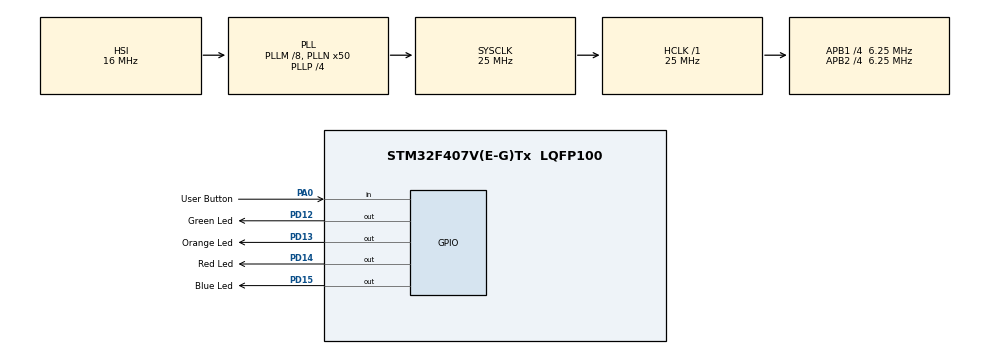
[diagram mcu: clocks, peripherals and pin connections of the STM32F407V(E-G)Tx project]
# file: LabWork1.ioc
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Mcu.Family=STM32F4
Mcu.Name=STM32F407V(E-G)Tx
Mcu.Package=LQFP100
NVIC.PriorityGroup=NVIC_PRIORITYGROUP_0
PA0-WKUP.GPIO_Label=User Button
PA0-WKUP.Signal=GPIO_Input
PD12.GPIO_Label=Green Led
PD12.Signal=GPIO_Output
PD13.GPIO_Label=Orange Led
PD13.Signal=GPIO_Output
PD14.GPIO_Label=Red Led
PD14.Signal=GPIO_Output
PD15.GPIO_Label=Blue Led
PD15.Signal=GPIO_Output
ProjectManager.HeapSize=0x200
ProjectManager.StackSize=0x400
ProjectManager.TargetToolchain=STM32CubeIDE
RCC.48MHZClocksFreq_Value=14285714.285714285
RCC.AHBFreq_Value=25000000
RCC.APB1CLKDivider=RCC_HCLK_DIV4
RCC.APB1Freq_Value=6250000
RCC.APB1TimFreq_Value=12500000
RCC.APB2CLKDivider=RCC_HCLK_DIV4
RCC.APB2Freq_Value=6250000
RCC.APB2TimFreq_Value=12500000
RCC.CortexFreq_Value=25000000
RCC.HCLKFreq_Value=25000000
RCC.HSE_VALUE=8000000
RCC.HSI_VALUE=16000000
RCC.PLLM=8
RCC.PLLN=50
RCC.PLLP=RCC_PLLP_DIV4
RCC.PLLQ=7
RCC.SYSCLKFreq_VALUE=25000000
RCC.SYSCLKSource=RCC_SYSCLKSOURCE_PLLCLK
RCC.VCOOutputFreq_Value=100000000
board=STM32F407G-DISC1

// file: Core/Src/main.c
/* USER CODE BEGIN Header */
/**
  ******************************************************************************
  * @file           : main.c
  * @brief          : Main program body
  ******************************************************************************
  * @attention
  *
  * Copyright (c) 2024 STMicroelectronics.
  * All rights reserved.
  *
  * This software is licensed under terms that can be found in the LICENSE file
  * in the root directory of this software component.
  * If no LICENSE file comes with this software, it is provided AS-IS.
  *
  ******************************************************************************
  */
/* USER CODE END Header */
#include "main.h"

void SystemClock_Config(void);
static void MX_GPIO_Init(void);

int main(void)
{
  /* USER CODE BEGIN 1 */
	HAL_Init();
	__GPIOD_CLK_ENABLE();
	__GPIOA_CLK_ENABLE();

	GPIO_InitTypeDef GPIO_InitStruct;

	  // Configure the GPIO LED pins
	  GPIO_InitStruct.Pin = GPIO_PIN_12 | GPIO_PIN_13 | GPIO_PIN_14 | GPIO_PIN_15;
	  GPIO_InitStruct.Mode = GPIO_MODE_OUTPUT_PP;
	  GPIO_InitStruct.Pull = GPIO_NOPULL;
	  GPIO_InitStruct.Speed = GPIO_SPEED_FAST;
	  HAL_GPIO_Init(GPIOD, &GPIO_InitStruct);

	  // Configure the GPIO button pin
	  GPIO_InitStruct.Pin = GPIO_PIN_0;
	  GPIO_InitStruct.Mode = GPIO_MODE_INPUT;
	  GPIO_InitStruct.Pull = GPIO_NOPULL;
	  HAL_GPIO_Init(GPIOA, &GPIO_InitStruct);
  /* USER CODE END 1 */

  /* MCU Configuration--------------------------------------------------------*/

  /* Reset of all peripherals, Initializes the Flash interface and the Systick. */
  HAL_Init();

  /* Configure the system clock */
  SystemClock_Config();

  /* Initialize all configured peripherals */
  MX_GPIO_Init();
  /* USER CODE BEGIN 2 */

  int mode = 2;  // Switch variable
  int delay_ms = 500;  // Initial delay in ms
  uint8_t prev_button_state = GPIO_PIN_RESET;  // Previous button state
  int rotationDirection = 1;  // Initial rotation direction
  int currentIndex = 0;
  #define LED_COUNT 4
  uint16_t ledPins[LED_COUNT] = {GPIO_PIN_12, GPIO_PIN_13, GPIO_PIN_14, GPIO_PIN_15};
  /* USER CODE END 2 */
  /* Infinite loop */

  /* USER CODE BEGIN WHILE */
  /* USER CODE BEGIN 3*/
  while (1)
  {
	  if(mode==0)
	  {
			 // Toggle the blue LED every second
			// Binary 3 - Green and Blue ON
			  HAL_GPIO_WritePin(GPIOD, GPIO_PIN_12, GPIO_PIN_SET);
			  HAL_GPIO_WritePin(GPIOD, GPIO_PIN_15, GPIO_PIN_SET);
			  HAL_Delay(1000);

			// Binary 2 - Green ON, Blue OFF
			  HAL_GPIO_WritePin(GPIOD, GPIO_PIN_12, GPIO_PIN_SET);
			  HAL_GPIO_WritePin(GPIOD, GPIO_PIN_15, GPIO_PIN_RESET);
			  HAL_Delay(1000);

			// Binary 1 - Green OFF, Blue ON
		      HAL_GPIO_WritePin(GPIOD, GPIO_PIN_12, GPIO_PIN_RESET);
			  HAL_GPIO_WritePin(GPIOD, GPIO_PIN_15, GPIO_PIN_SET);
			  HAL_Delay(1000);
	  }
	  else if(mode==1)
	  {
		  // Toggle the blue LED every second
		  HAL_GPIO_TogglePin(GPIOD, GPIO_PIN_15);
		  HAL_Delay(1000);

		  // Toggle the orange LED every two seconds
		  static int orange_blink_counter = 0;
		  orange_blink_counter++;
		  if(orange_blink_counter % 2 == 0)
		  {
		    HAL_GPIO_TogglePin(GPIOD, GPIO_PIN_13);
		  }
	  }
	  else if(mode==2)
	    {
	      // if the button is pressed
		  if(HAL_GPIO_ReadPin(GPIOA, GPIO_PIN_0) == GPIO_PIN_SET)
			  // Turn on the orange LED
	      HAL_GPIO_WritePin(GPIOD, GPIO_PIN_13, GPIO_PIN_SET);
	    }
	  else if(mode==3)
	  {
	    // Toggle the blue LED with the current delay
	    HAL_GPIO_TogglePin(GPIOD, GPIO_PIN_15);
	    HAL_Delay(delay_ms);

	    // Read the current button state
	    uint8_t current_button_state = HAL_GPIO_ReadPin(GPIOA, GPIO_PIN_0);

	    // If the button was pressed (transition from RESET to SET)
	    if(prev_button_state == GPIO_PIN_RESET && current_button_state == GPIO_PIN_SET)
	    {
	      // Increase the delay by 1 second
	      delay_ms += 1000;
	    }

	    // Update the previous button state
	    prev_button_state = current_button_state;
	  }
	  else if(mode==4)
	  {
	    // Turn off all LEDs
	    for (int i = 0; i < LED_COUNT; i++)
	      HAL_GPIO_WritePin(GPIOD, ledPins[i], GPIO_PIN_RESET);

	    // Turn on the current LED
	    HAL_GPIO_WritePin(GPIOD, ledPins[currentIndex], GPIO_PIN_SET);
	    HAL_Delay(100);

	    // If the User button was pressed
	    if(HAL_GPIO_ReadPin(GPIOA, GPIO_PIN_0) == GPIO_PIN_SET)
	    {
	      // Change the rotation direction
	      rotationDirection = -rotationDirection;
	      HAL_Delay(200);  // Debouncing delay
	    }

	    // Update the current index
	    currentIndex = (currentIndex + rotationDirection + LED_COUNT) % LED_COUNT;
	  }
  }
  /* USER CODE END WHILE */
  /* USER CODE END 3 */
}

void SystemClock_Config(void)
{
  RCC_OscInitTypeDef RCC_OscInitStruct = {0};
  RCC_ClkInitTypeDef RCC_ClkInitStruct = {0};

  /** Configure the main internal regulator output voltage
  */
  __HAL_RCC_PWR_CLK_ENABLE();
  __HAL_PWR_VOLTAGESCALING_CONFIG(PWR_REGULATOR_VOLTAGE_SCALE1);

  /** Initializes the RCC Oscillators according to the specified parameters
  * in the RCC_OscInitTypeDef structure.
  */
  RCC_OscInitStruct.OscillatorType = RCC_OSCILLATORTYPE_HSI;
  RCC_OscInitStruct.HSIState = RCC_HSI_ON;
  RCC_OscInitStruct.HSICalibrationValue = RCC_HSICALIBRATION_DEFAULT;
  RCC_OscInitStruct.PLL.PLLState = RCC_PLL_ON;
  RCC_OscInitStruct.PLL.PLLSource = RCC_PLLSOURCE_HSI;
  RCC_OscInitStruct.PLL.PLLM = 8;
  RCC_OscInitStruct.PLL.PLLN = 50;
  RCC_OscInitStruct.PLL.PLLP = RCC_PLLP_DIV4;
  RCC_OscInitStruct.PLL.PLLQ = 7;
  if (HAL_RCC_OscConfig(&RCC_OscInitStruct) != HAL_OK)
  {
    Error_Handler();
  }

  /** Initializes the CPU, AHB and APB buses clocks
  */
  RCC_ClkInitStruct.ClockType = RCC_CLOCKTYPE_HCLK|RCC_CLOCKTYPE_SYSCLK
                              |RCC_CLOCKTYPE_PCLK1|RCC_CLOCKTYPE_PCLK2;
  RCC_ClkInitStruct.SYSCLKSource = RCC_SYSCLKSOURCE_PLLCLK;
  RCC_ClkInitStruct.AHBCLKDivider = RCC_SYSCLK_DIV1;
  RCC_ClkInitStruct.APB1CLKDivider = RCC_HCLK_DIV4;
  RCC_ClkInitStruct.APB2CLKDivider = RCC_HCLK_DIV4;

  if (HAL_RCC_ClockConfig(&RCC_ClkInitStruct, FLASH_LATENCY_0) != HAL_OK)
  {
    Error_Handler();
  }
}

static void MX_GPIO_Init(void)
{
  GPIO_InitTypeDef GPIO_InitStruct = {0};

  /* GPIO Ports Clock Enable */
  __HAL_RCC_GPIOA_CLK_ENABLE();
  __HAL_RCC_GPIOD_CLK_ENABLE();

  /*Configure GPIO pin Output Level */
  HAL_GPIO_WritePin(GPIOD, Green_Led_Pin|Orange_Led_Pin|Red_Led_Pin|Blue_Led_Pin, GPIO_PIN_RESET);

  /*Configure GPIO pin : User_Button_Pin */
  GPIO_InitStruct.Pin = User_Button_Pin;
  GPIO_InitStruct.Mode = GPIO_MODE_INPUT;
  GPIO_InitStruct.Pull = GPIO_NOPULL;
  HAL_GPIO_Init(User_Button_GPIO_Port, &GPIO_InitStruct);

  /*Configure GPIO pins : Green_Led_Pin Orange_Led_Pin Red_Led_Pin Blue_Led_Pin */
  GPIO_InitStruct.Pin = Green_Led_Pin|Orange_Led_Pin|Red_Led_Pin|Blue_Led_Pin;
  GPIO_InitStruct.Mode = GPIO_MODE_OUTPUT_PP;
  GPIO_InitStruct.Pull = GPIO_NOPULL;
  GPIO_InitStruct.Speed = GPIO_SPEED_FREQ_LOW;
  HAL_GPIO_Init(GPIOD, &GPIO_InitStruct);

}

void Error_Handler(void)
{
  __disable_irq();
  while (1)
  {
  }
}
